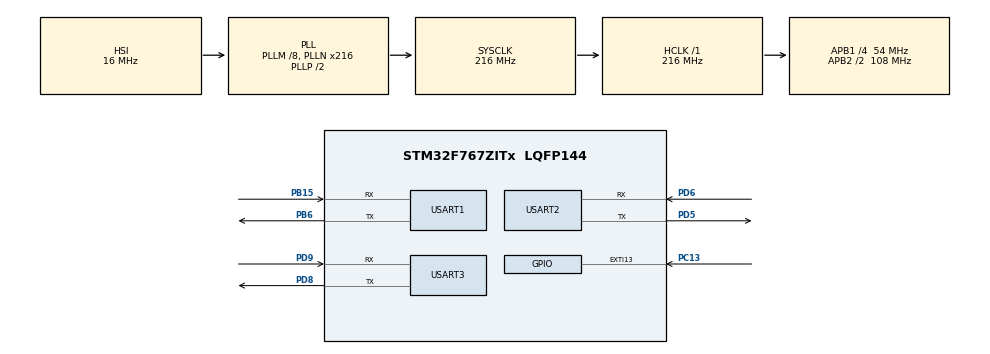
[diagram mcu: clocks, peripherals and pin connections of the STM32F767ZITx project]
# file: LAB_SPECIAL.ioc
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CORTEX_M7.default_mode_Activation=1
Mcu.Family=STM32F7
Mcu.Name=STM32F767ZITx
Mcu.Package=LQFP144
NVIC.EXTI15_10_IRQn=true\:2\:1\:true\:false\:true\:true\:true\:true
NVIC.PriorityGroup=NVIC_PRIORITYGROUP_2
NVIC.USART1_IRQn=true\:1\:0\:true\:false\:true\:true\:true\:true
NVIC.USART2_IRQn=true\:1\:0\:true\:false\:true\:true\:true\:true
PB15.Mode=Asynchronous
PB15.Signal=USART1_RX
PB6.Mode=Asynchronous
PB6.Signal=USART1_TX
PC13.Signal=GPXTI13
PD5.Mode=Asynchronous
PD5.Signal=USART2_TX
PD6.Mode=Asynchronous
PD6.Signal=USART2_RX
PD8.Mode=Asynchronous
PD8.Signal=USART3_TX
PD9.Mode=Asynchronous
PD9.Signal=USART3_RX
ProjectManager.HeapSize=0x200
ProjectManager.StackSize=0x400
ProjectManager.TargetToolchain=STM32CubeIDE
RCC.AHBFreq_Value=216000000
RCC.APB1CLKDivider=RCC_HCLK_DIV4
RCC.APB1Freq_Value=54000000
RCC.APB1TimFreq_Value=108000000
RCC.APB2CLKDivider=RCC_HCLK_DIV2
RCC.APB2Freq_Value=108000000
RCC.APB2TimFreq_Value=216000000
RCC.CortexFreq_Value=216000000
RCC.HCLKFreq_Value=216000000
RCC.HSE_VALUE=25000000
RCC.HSI_VALUE=16000000
RCC.LSE_VALUE=32768
RCC.PLLM=8
RCC.PLLN=216
RCC.SYSCLKFreq_VALUE=216000000
RCC.SYSCLKSource=RCC_SYSCLKSOURCE_PLLCLK
RCC.USBFreq_Value=216000000
RCC.VCOOutputFreq_Value=432000000
USART1.VirtualMode-Asynchronous=VM_ASYNC
USART2.VirtualMode-Asynchronous=VM_ASYNC
USART3.VirtualMode-Asynchronous=VM_ASYNC
board=custom

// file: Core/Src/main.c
/* USER CODE BEGIN Header */
/**
  ******************************************************************************
  * @file           : main.c
  * @brief          : Main program body
  ******************************************************************************
  * @attention
  *
  * Copyright (c) 2026 STMicroelectronics.
  * All rights reserved.
  *
  * This software is licensed under terms that can be found in the LICENSE file
  * in the root directory of this software component.
  * If no LICENSE file comes with this software, it is provided AS-IS.
  *
  ******************************************************************************
  */
/* USER CODE END Header */
#include "main.h"
#include "usart.h"
#include "gpio.h"

/* USER CODE BEGIN Includes */
#include "string.h"
#include "stdbool.h"
/* USER CODE END Includes */

/* USER CODE BEGIN PD */
#define UART_TIMEOUT 1000
#define PACKET_SIZE 64
#define TX_MODE 0 // 1 == tx, 0 == rx
/* USER CODE END PD */

/* USER CODE BEGIN PV */
char tx_header[] = "\n\rMan from U.A.R.T.1!\n\r";
char rx_header[] = "\n\rMan from U.A.R.T.2!\n\r";

char press_q[] = "Quit PRESS q\n\r";
char name_title[] = "	Name: ";

uint8_t state = 0;
bool is_end = false;

char tx_name_buffer[PACKET_SIZE];
char rx_name_buffer[PACKET_SIZE];

char tx_input_buffer;
char tx_buffer[PACKET_SIZE];
char rx_buffer[PACKET_SIZE];

uint8_t test_count = 0;
char test_word[PACKET_SIZE];
/* USER CODE END PV */

void SystemClock_Config(void);
static void MPU_Config(void);
/* USER CODE BEGIN PFP */
void NextState(void);
void PreviousState(void);
void GetUserInput(void);
void Receive_From_UART(void);
void EndState(void);
/* USER CODE END PFP */

int main(void)
{

  /* MPU Configuration--------------------------------------------------------*/
  MPU_Config();

  /* MCU Configuration--------------------------------------------------------*/

  /* Reset of all peripherals, Initializes the Flash interface and the Systick. */
  HAL_Init();

  /* Configure the system clock */
  SystemClock_Config();

  /* Initialize all configured peripherals */
  MX_GPIO_Init();
  MX_USART1_UART_Init();
  MX_USART3_UART_Init();
  MX_USART2_UART_Init();
  /* USER CODE BEGIN 2 */
#if TX_MODE
  HAL_UART_Transmit(&huart3, (uint8_t*) tx_header, strlen(tx_header), UART_TIMEOUT);
  HAL_UART_Transmit(&huart3, (uint8_t*) press_q, strlen(press_q), UART_TIMEOUT);
  HAL_UART_Transmit(&huart3, (uint8_t*) name_title, strlen(name_title), UART_TIMEOUT);

  HAL_UART_Receive_IT(&huart1, (uint8_t*) rx_buffer, PACKET_SIZE);
#else
  HAL_UART_Transmit(&huart3, (uint8_t*) rx_header, strlen(rx_header), UART_TIMEOUT);
  HAL_UART_Transmit(&huart3, (uint8_t*) press_q, strlen(press_q), UART_TIMEOUT);
  state = 1;

  HAL_UART_Receive_IT(&huart2, (uint8_t*) rx_buffer, PACKET_SIZE);
#endif

  memset(tx_buffer, 0, PACKET_SIZE);
  memset(rx_buffer, 0, PACKET_SIZE);
  memset(test_word, 0, PACKET_SIZE);
  /* USER CODE END 2 */

  /* Infinite loop */
  /* USER CODE BEGIN WHILE */
  while (!is_end)
  {
    /* USER CODE END WHILE */

    /* USER CODE BEGIN 3 */
	switch (state) {
	  case 0:
		  GetUserInput();
		  break;
	  case 1:
		  // Receive from interrupt by whyzotee
		  break;
	  default:
		  char error[] = "Bye";
		  HAL_UART_Transmit(&huart3, (uint8_t*) error, strlen(error), 1000);
		  is_end = true;
		  break;
	}

	HAL_Delay(50);
  }
  /* USER CODE END 3 */
}

void SystemClock_Config(void)
{
  RCC_OscInitTypeDef RCC_OscInitStruct = {0};
  RCC_ClkInitTypeDef RCC_ClkInitStruct = {0};

  /** Configure the main internal regulator output voltage
  */
  __HAL_RCC_PWR_CLK_ENABLE();
  __HAL_PWR_VOLTAGESCALING_CONFIG(PWR_REGULATOR_VOLTAGE_SCALE1);

  /** Initializes the RCC Oscillators according to the specified parameters
  * in the RCC_OscInitTypeDef structure.
  */
  RCC_OscInitStruct.OscillatorType = RCC_OSCILLATORTYPE_HSI;
  RCC_OscInitStruct.HSIState = RCC_HSI_ON;
  RCC_OscInitStruct.HSICalibrationValue = RCC_HSICALIBRATION_DEFAULT;
  RCC_OscInitStruct.PLL.PLLState = RCC_PLL_ON;
  RCC_OscInitStruct.PLL.PLLSource = RCC_PLLSOURCE_HSI;
  RCC_OscInitStruct.PLL.PLLM = 8;
  RCC_OscInitStruct.PLL.PLLN = 216;
  RCC_OscInitStruct.PLL.PLLP = RCC_PLLP_DIV2;
  RCC_OscInitStruct.PLL.PLLQ = 2;
  RCC_OscInitStruct.PLL.PLLR = 2;
  if (HAL_RCC_OscConfig(&RCC_OscInitStruct) != HAL_OK)
  {
    Error_Handler();
  }

  /** Activate the Over-Drive mode
  */
  if (HAL_PWREx_EnableOverDrive() != HAL_OK)
  {
    Error_Handler();
  }

  /** Initializes the CPU, AHB and APB buses clocks
  */
  RCC_ClkInitStruct.ClockType = RCC_CLOCKTYPE_HCLK|RCC_CLOCKTYPE_SYSCLK
                              |RCC_CLOCKTYPE_PCLK1|RCC_CLOCKTYPE_PCLK2;
  RCC_ClkInitStruct.SYSCLKSource = RCC_SYSCLKSOURCE_PLLCLK;
  RCC_ClkInitStruct.AHBCLKDivider = RCC_SYSCLK_DIV1;
  RCC_ClkInitStruct.APB1CLKDivider = RCC_HCLK_DIV4;
  RCC_ClkInitStruct.APB2CLKDivider = RCC_HCLK_DIV2;

  if (HAL_RCC_ClockConfig(&RCC_ClkInitStruct, FLASH_LATENCY_7) != HAL_OK)
  {
    Error_Handler();
  }
}

/* USER CODE BEGIN 4 */
void HAL_GPIO_EXTI_Callback(uint16_t GPIO_Pin)
{
	if (GPIO_Pin == GPIO_PIN_13)
	{
		if (state == 0) return;

		memset(test_word, 0, PACKET_SIZE);
		UART_HandleTypeDef *target_uart = (!TX_MODE) ? &huart1 : &huart2;

		if (test_count == 0)
		{
			strcpy(test_word, "whyzotee");
			test_count++;
		}
		else if (test_count == 1)
		{
			strcpy(test_word, "Message 1");
		    test_count++;
		}
		else
		{
			strcpy(test_word, "Message 2");
			test_count = 1;
		}

		HAL_UART_Transmit(target_uart, (uint8_t*)test_word, PACKET_SIZE, UART_TIMEOUT);
	}
}

void NextState(void) { state +=1 ;}
void PreviousState(void) { state -=1 ;}
void EndState(void) { state = -1 ;}

void GetUserInput(void)
{
	while(__HAL_UART_GET_FLAG(&huart3, UART_FLAG_RXNE) == 0) {}
	HAL_UART_Receive(&huart3, (uint8_t*) &tx_input_buffer, 1, UART_TIMEOUT);

	while (__HAL_UART_GET_FLAG(&huart3, UART_FLAG_TC) == 0) {}
	if (tx_input_buffer == 0x08 || tx_input_buffer == 0x7F){
		if (strlen(tx_buffer) > 0) {
			tx_buffer[strlen(tx_buffer)-1] = 0;
			HAL_UART_Transmit(&huart3, (uint8_t*) "\0\b \b", 4, UART_TIMEOUT);
		}
	} else if (tx_input_buffer == '\r') {
		HAL_UART_Transmit(&huart3, (uint8_t*) "\r\n", 2, UART_TIMEOUT);

		if (!strlen(tx_name_buffer)) {
			strcpy(tx_name_buffer, tx_buffer);

			HAL_UART_Transmit((TX_MODE) ? &huart1: &huart2, (uint8_t*) tx_name_buffer, PACKET_SIZE, UART_TIMEOUT);
		} else {
			HAL_UART_Transmit((TX_MODE) ? &huart1: &huart2, (uint8_t*) tx_buffer, PACKET_SIZE, UART_TIMEOUT);
		}

		if (strcmp(tx_buffer, "q") == 0) {
			EndState();
			return;
		}

		memset(tx_buffer, 0, PACKET_SIZE);

		NextState();
	} else {
		HAL_UART_Transmit(&huart3, (uint8_t*) &tx_input_buffer, 1, UART_TIMEOUT);
		tx_buffer[strlen(tx_buffer)] = tx_input_buffer;
	}
}

void HAL_UART_RxCpltCallback(UART_HandleTypeDef *huart)
{

#if TX_MODE
	HAL_UART_Receive_IT(&huart1, (uint8_t*) rx_buffer, PACKET_SIZE);
#else
	HAL_UART_Receive_IT(&huart2, (uint8_t*) rx_buffer, PACKET_SIZE);
#endif

	if (strcmp(rx_buffer, "q") == 0) {
		EndState();
		return;
	}

	while (__HAL_UART_GET_FLAG(&huart3, UART_FLAG_TC) == 0) {}
	HAL_UART_Transmit(&huart3, (uint8_t*) "	", 1, UART_TIMEOUT);

	if (!strlen(rx_name_buffer)) {
		strcpy(rx_name_buffer, (char*)rx_buffer);

		HAL_UART_Transmit(&huart3, (uint8_t*) rx_name_buffer, strlen(rx_name_buffer), UART_TIMEOUT);
		HAL_UART_Transmit(&huart3, (uint8_t*) " is ready", 9, UART_TIMEOUT);
	} else {
		HAL_UART_Transmit(&huart3, (uint8_t*) rx_name_buffer, strlen(rx_name_buffer), UART_TIMEOUT);
		HAL_UART_Transmit(&huart3, (uint8_t*) " : ", 3, UART_TIMEOUT);
		HAL_UART_Transmit(&huart3, (uint8_t*) rx_buffer, PACKET_SIZE, UART_TIMEOUT);
	}

	HAL_UART_Transmit(&huart3, (uint8_t*) "\r\n", 2, UART_TIMEOUT);

	if (!strlen(tx_name_buffer)) {
		HAL_UART_Transmit(&huart3, (uint8_t*) name_title, strlen(name_title), UART_TIMEOUT);
	} else {
		HAL_UART_Transmit(&huart3, (uint8_t*) "	", 1, UART_TIMEOUT);
		HAL_UART_Transmit(&huart3, (uint8_t*) tx_name_buffer, PACKET_SIZE, UART_TIMEOUT);
		HAL_UART_Transmit(&huart3, (uint8_t*) " => ", 4, UART_TIMEOUT);
	}

	memset(rx_buffer, 0, PACKET_SIZE);

	PreviousState();
}
/* USER CODE END 4 */

 /* MPU Configuration */

void MPU_Config(void)
{
  MPU_Region_InitTypeDef MPU_InitStruct = {0};

  /* Disables the MPU */
  HAL_MPU_Disable();

  /** Initializes and configures the Region and the memory to be protected
  */
  MPU_InitStruct.Enable = MPU_REGION_ENABLE;
  MPU_InitStruct.Number = MPU_REGION_NUMBER0;
  MPU_InitStruct.BaseAddress = 0x0;
  MPU_InitStruct.Size = MPU_REGION_SIZE_4GB;
  MPU_InitStruct.SubRegionDisable = 0x87;
  MPU_InitStruct.TypeExtField = MPU_TEX_LEVEL0;
  MPU_InitStruct.AccessPermission = MPU_REGION_NO_ACCESS;
  MPU_InitStruct.DisableExec = MPU_INSTRUCTION_ACCESS_DISABLE;
  MPU_InitStruct.IsShareable = MPU_ACCESS_SHAREABLE;
  MPU_InitStruct.IsCacheable = MPU_ACCESS_NOT_CACHEABLE;
  MPU_InitStruct.IsBufferable = MPU_ACCESS_NOT_BUFFERABLE;

  HAL_MPU_ConfigRegion(&MPU_InitStruct);
  /* Enables the MPU */
  HAL_MPU_Enable(MPU_PRIVILEGED_DEFAULT);

}

void Error_Handler(void)
{
  __disable_irq();
  while (1)
  {
  }
}
